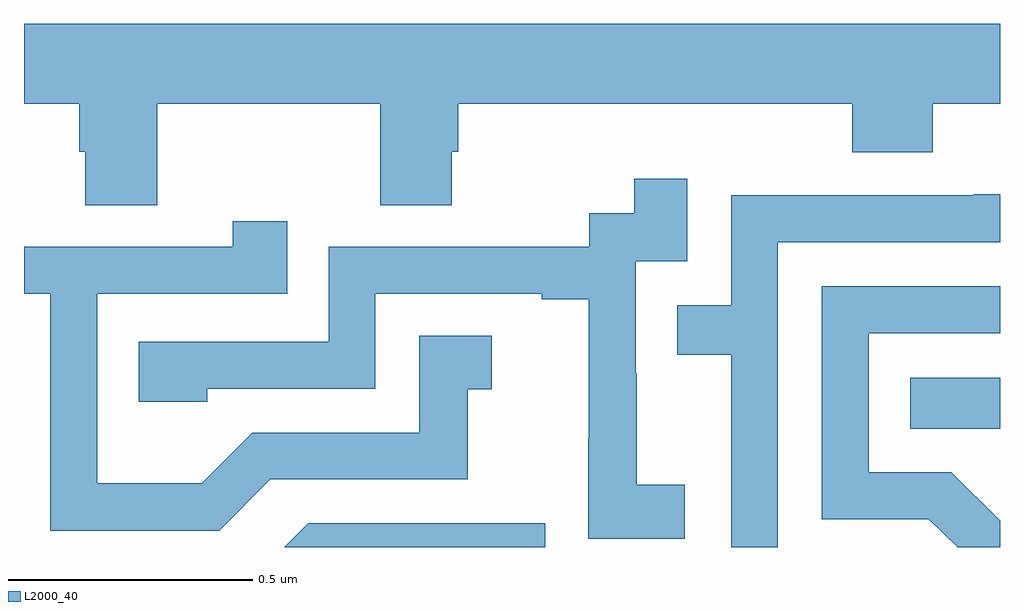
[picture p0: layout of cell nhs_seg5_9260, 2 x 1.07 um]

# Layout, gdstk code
import gdstk
lib = gdstk.Library(unit=1e-6, precision=1e-09)
def R(c, l, rs):  # rectangles x0, y0, x1, y1
    for r in rs: c.add(gdstk.rectangle(r[:2], r[2:], *l))
def P(c, l, *ps):  # polygons
    for p in ps: c.add(gdstk.Polygon(p, *l))
L2000_40 = (2000, 40)

nhs_seg5_9260 = lib.new_cell('nhs_seg5_9260')
R(nhs_seg5_9260, L2000_40, [(232.816,908.042,233,908.146)])
P(nhs_seg5_9260, L2000_40, [(231.273,908.708),(231.73,908.708),(231.73,908.5),(231.877,908.5),(231.877,908.61),(231.89,908.61),(231.89,908.708),(232.697,908.708),(232.697,908.609),(232.862,908.609),(232.862,908.708),(233,908.708),(233,908.872),(231,908.872),(231,908.708),(231.113,908.708),(231.113,908.61),(231.125,908.61),(231.125,908.5),(231.273,908.5)],
  [(232.354,907.927),(232.256,907.927),(232.256,908.156),(232.254,908.156),(232.254,908.385),(232.359,908.385),(232.359,908.554),(232.251,908.554),(232.251,908.484),(232.158,908.484),(232.158,908.415),(231.624,908.415),(231.624,908.22),(231.235,908.22),(231.235,908.097),(231.375,908.097),(231.375,908.124),(231.72,908.124),(231.72,908.319),(232.061,908.319),(232.061,908.307),(232.157,908.307),(232.157,908.023),(232.156,908.023),(232.156,907.817),(232.354,907.817)],
  [(232.545,908.424),(233,908.424),(233,908.522),(232.945,908.522),(232.945,908.52),(232.449,908.52),(232.449,908.295),(232.339,908.295),(232.339,908.194),(232.449,908.194),(232.449,907.799),(232.545,907.799)],
  [(231.505,907.938),(231.909,907.938),(231.909,908.123),(231.958,908.123),(231.958,908.233),(231.81,908.233),(231.81,908.034),(231.468,908.034),(231.364,907.93),(231.15,907.93),(231.15,908.319),(231.539,908.319),(231.539,908.467),(231.428,908.467),(231.428,908.415),(231,908.415),(231,908.319),(231.054,908.319),(231.054,907.833),(231.4,907.833)],
  [(233,907.853),(232.9,907.953),(232.731,907.953),(232.731,908.238),(233,908.238),(233,908.334),(232.635,908.334),(232.635,907.857),(232.854,907.857),(232.913,907.799),(233,907.799)],
  [(232.068,907.848),(231.582,907.848),(231.533,907.799),(232.068,907.799)])

lib.write_gds('nhs_seg5_9260.gds')
